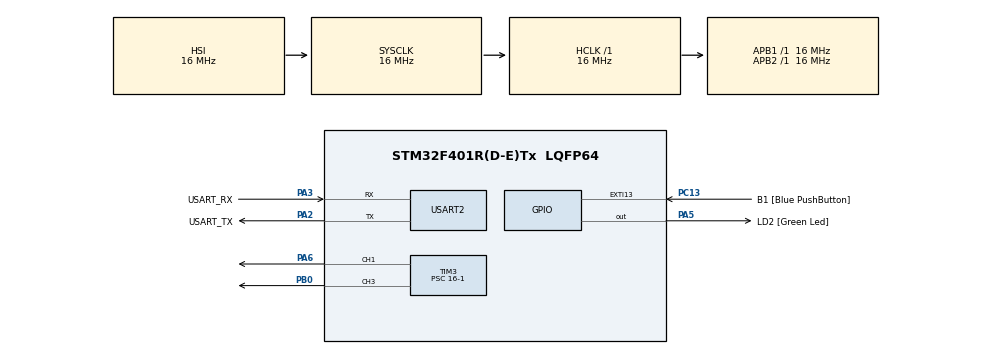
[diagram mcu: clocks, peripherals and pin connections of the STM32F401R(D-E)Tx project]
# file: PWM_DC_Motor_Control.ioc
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Mcu.Family=STM32F4
Mcu.Name=STM32F401R(D-E)Tx
Mcu.Package=LQFP64
NVIC.PriorityGroup=NVIC_PRIORITYGROUP_4
PA13.GPIO_Label=TMS
PA13.Mode=Trace_Asynchronous_SW
PA13.Signal=SYS_JTMS-SWDIO
PA14.GPIO_Label=TCK
PA14.Mode=Trace_Asynchronous_SW
PA14.Signal=SYS_JTCK-SWCLK
PA2.GPIO_Label=USART_TX
PA2.GPIO_Mode=GPIO_MODE_AF_PP
PA2.GPIO_PuPd=GPIO_NOPULL
PA2.GPIO_Speed=GPIO_SPEED_FREQ_LOW
PA2.Mode=Asynchronous
PA2.Signal=USART2_TX
PA3.GPIO_Label=USART_RX
PA3.GPIO_Mode=GPIO_MODE_AF_PP
PA3.GPIO_PuPd=GPIO_NOPULL
PA3.GPIO_Speed=GPIO_SPEED_FREQ_LOW
PA3.Mode=Asynchronous
PA3.Signal=USART2_RX
PA5.GPIO_Label=LD2 [Green Led]
PA5.GPIO_Mode=GPIO_MODE_OUTPUT_PP
PA5.GPIO_PuPd=GPIO_NOPULL
PA5.GPIO_Speed=GPIO_SPEED_FREQ_LOW
PA5.Signal=GPIO_Output
PA6.Signal=S_TIM3_CH1
PB0.Signal=S_TIM3_CH3
PB3.GPIO_Label=SWO
PB3.Mode=Trace_Asynchronous_SW
PB3.Signal=SYS_JTDO-SWO
PC13-ANTI_TAMP.GPIO_Label=B1 [Blue PushButton]
PC13-ANTI_TAMP.GPIO_ModeDefaultEXTI=GPIO_MODE_IT_FALLING
PC13-ANTI_TAMP.GPIO_PuPd=GPIO_NOPULL
PC13-ANTI_TAMP.Signal=GPXTI13
PC14-OSC32_IN.Mode=LSE-External-Oscillator
PC14-OSC32_IN.Signal=RCC_OSC32_IN
PC15-OSC32_OUT.Mode=LSE-External-Oscillator
PC15-OSC32_OUT.Signal=RCC_OSC32_OUT
PH0\ -\ OSC_IN.Mode=HSE-External-Clock-Source
PH0\ -\ OSC_IN.Signal=RCC_OSC_IN
PH1\ -\ OSC_OUT.Mode=HSE-External-Clock-Source
PH1\ -\ OSC_OUT.Signal=RCC_OSC_OUT
ProjectManager.HeapSize=0x200
ProjectManager.StackSize=0x400
ProjectManager.TargetToolchain=STM32CubeIDE
RCC.48MHZClocksFreq_Value=48000000
RCC.AHBFreq_Value=16000000
RCC.APB1Freq_Value=16000000
RCC.APB1TimFreq_Value=16000000
RCC.APB2Freq_Value=16000000
RCC.APB2TimFreq_Value=16000000
RCC.CortexFreq_Value=16000000
RCC.HCLKFreq_Value=16000000
RCC.HSE_VALUE=8000000
RCC.HSI_VALUE=16000000
RCC.PLLN=336
RCC.PLLP=RCC_PLLP_DIV4
RCC.PLLQ=7
RCC.SYSCLKFreq_VALUE=16000000
RCC.VCOOutputFreq_Value=336000000
SH.S_TIM3_CH1.0=TIM3_CH1,PWM Generation1 CH1
SH.S_TIM3_CH3.0=TIM3_CH3,PWM Generation3 CH3
TIM3.AutoReloadPreload=TIM_AUTORELOAD_PRELOAD_ENABLE
TIM3.Channel-PWM\ Generation1\ CH1=TIM_CHANNEL_1
TIM3.Channel-PWM\ Generation3\ CH3=TIM_CHANNEL_3
TIM3.Period=2000-1
TIM3.Prescaler=16-1
TIM3.Pulse-PWM\ Generation1\ CH1=1200-1
USART2.VirtualMode=VM_ASYNC
VP_TIM3_VS_ClockSourceINT.Mode=Internal
board=NUCLEO-F401RE

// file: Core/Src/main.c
/* USER CODE BEGIN Header */
/**
  ******************************************************************************
  * @file           : main.c
  * @brief          : Main program body
  ******************************************************************************
  * @attention
  *
  * Copyright (c) 2026 STMicroelectronics.
  * All rights reserved.
  *
  * This software is licensed under terms that can be found in the LICENSE file
  * in the root directory of this software component.
  * If no LICENSE file comes with this software, it is provided AS-IS.
  *
  ******************************************************************************
  */
/* USER CODE END Header */
#include "main.h"

TIM_HandleTypeDef htim3;

UART_HandleTypeDef huart2;

void SystemClock_Config(void);
static void MX_GPIO_Init(void);
static void MX_USART2_UART_Init(void);
static void MX_TIM3_Init(void);

int main(void)
{

  /* MCU Configuration--------------------------------------------------------*/

  /* Reset of all peripherals, Initializes the Flash interface and the Systick. */
  HAL_Init();

  /* Configure the system clock */
  SystemClock_Config();

  /* Initialize all configured peripherals */
  MX_GPIO_Init();
  MX_USART2_UART_Init();
  MX_TIM3_Init();
  /* USER CODE BEGIN 2 */
  HAL_TIM_Base_Init(&htim3);
  HAL_TIM_PWM_Start(&htim3, TIM_CHANNEL_1);
  HAL_TIM_PWM_Start(&htim3, TIM_CHANNEL_3);
  /* USER CODE END 2 */

  /* Infinite loop */
  while (1)
  {

      /* USER CODE BEGIN 3 */

      // Direction 1: CH1 produces PWM, CH3 stays at zero.
      TIM3->CCR3 = 0;

      // Gradually increase duty cycle from 60% to 100%.
      for (int pulse = 1200; pulse <= 2000; pulse += 200)
      {
          TIM3->CCR1 = pulse;
          HAL_Delay(5000);
      }

      // Gradually decrease duty cycle back to 60%.
      for (int pulse = 1800; pulse >= 1200; pulse -= 200)
      {
          TIM3->CCR1 = pulse;
          HAL_Delay(5000);
      }

      // Stop for 5 seconds before reversing.
      TIM3->CCR1 = 0;
      TIM3->CCR3 = 0;
      HAL_Delay(5000);

      // Direction 2: CH3 produces PWM, CH1 stays at zero.

      // Gradually increase duty cycle from 60% to 100%.
      for (int pulse = 1200; pulse <= 2000; pulse += 200)
      {
          TIM3->CCR3 = pulse;
          HAL_Delay(5000);
      }

      // Gradually decrease duty cycle back to 60%.
      for (int pulse = 1800; pulse >= 1200; pulse -= 200)
      {
          TIM3->CCR3 = pulse;
          HAL_Delay(5000);
      }

      // Stop for 5 seconds before repeating.
      TIM3->CCR1 = 0;
      TIM3->CCR3 = 0;
      HAL_Delay(5000);
  }
  /* USER CODE END 3 */
}

void SystemClock_Config(void)
{
  RCC_OscInitTypeDef RCC_OscInitStruct = {0};
  RCC_ClkInitTypeDef RCC_ClkInitStruct = {0};

  /** Configure the main internal regulator output voltage
  */
  __HAL_RCC_PWR_CLK_ENABLE();
  __HAL_PWR_VOLTAGESCALING_CONFIG(PWR_REGULATOR_VOLTAGE_SCALE2);

  /** Initializes the RCC Oscillators according to the specified parameters
  * in the RCC_OscInitTypeDef structure.
  */
  RCC_OscInitStruct.OscillatorType = RCC_OSCILLATORTYPE_HSI;
  RCC_OscInitStruct.HSIState = RCC_HSI_ON;
  RCC_OscInitStruct.HSICalibrationValue = RCC_HSICALIBRATION_DEFAULT;
  RCC_OscInitStruct.PLL.PLLState = RCC_PLL_NONE;
  if (HAL_RCC_OscConfig(&RCC_OscInitStruct) != HAL_OK)
  {
    Error_Handler();
  }

  /** Initializes the CPU, AHB and APB buses clocks
  */
  RCC_ClkInitStruct.ClockType = RCC_CLOCKTYPE_HCLK|RCC_CLOCKTYPE_SYSCLK
                              |RCC_CLOCKTYPE_PCLK1|RCC_CLOCKTYPE_PCLK2;
  RCC_ClkInitStruct.SYSCLKSource = RCC_SYSCLKSOURCE_HSI;
  RCC_ClkInitStruct.AHBCLKDivider = RCC_SYSCLK_DIV1;
  RCC_ClkInitStruct.APB1CLKDivider = RCC_HCLK_DIV1;
  RCC_ClkInitStruct.APB2CLKDivider = RCC_HCLK_DIV1;

  if (HAL_RCC_ClockConfig(&RCC_ClkInitStruct, FLASH_LATENCY_0) != HAL_OK)
  {
    Error_Handler();
  }
}

static void MX_TIM3_Init(void)
{

  TIM_ClockConfigTypeDef sClockSourceConfig = {0};
  TIM_MasterConfigTypeDef sMasterConfig = {0};
  TIM_OC_InitTypeDef sConfigOC = {0};

  htim3.Instance = TIM3;
  htim3.Init.Prescaler = 16-1;
  htim3.Init.CounterMode = TIM_COUNTERMODE_UP;
  htim3.Init.Period = 2000-1;
  htim3.Init.ClockDivision = TIM_CLOCKDIVISION_DIV1;
  htim3.Init.AutoReloadPreload = TIM_AUTORELOAD_PRELOAD_ENABLE;
  if (HAL_TIM_Base_Init(&htim3) != HAL_OK)
  {
    Error_Handler();
  }
  sClockSourceConfig.ClockSource = TIM_CLOCKSOURCE_INTERNAL;
  if (HAL_TIM_ConfigClockSource(&htim3, &sClockSourceConfig) != HAL_OK)
  {
    Error_Handler();
  }
  if (HAL_TIM_PWM_Init(&htim3) != HAL_OK)
  {
    Error_Handler();
  }
  sMasterConfig.MasterOutputTrigger = TIM_TRGO_RESET;
  sMasterConfig.MasterSlaveMode = TIM_MASTERSLAVEMODE_DISABLE;
  if (HAL_TIMEx_MasterConfigSynchronization(&htim3, &sMasterConfig) != HAL_OK)
  {
    Error_Handler();
  }
  sConfigOC.OCMode = TIM_OCMODE_PWM1;
  sConfigOC.Pulse = 1200-1;
  sConfigOC.OCPolarity = TIM_OCPOLARITY_HIGH;
  sConfigOC.OCFastMode = TIM_OCFAST_DISABLE;
  if (HAL_TIM_PWM_ConfigChannel(&htim3, &sConfigOC, TIM_CHANNEL_1) != HAL_OK)
  {
    Error_Handler();
  }
  sConfigOC.Pulse = 0;
  if (HAL_TIM_PWM_ConfigChannel(&htim3, &sConfigOC, TIM_CHANNEL_3) != HAL_OK)
  {
    Error_Handler();
  }
  HAL_TIM_MspPostInit(&htim3);

}

static void MX_USART2_UART_Init(void)
{

  huart2.Instance = USART2;
  huart2.Init.BaudRate = 115200;
  huart2.Init.WordLength = UART_WORDLENGTH_8B;
  huart2.Init.StopBits = UART_STOPBITS_1;
  huart2.Init.Parity = UART_PARITY_NONE;
  huart2.Init.Mode = UART_MODE_TX_RX;
  huart2.Init.HwFlowCtl = UART_HWCONTROL_NONE;
  huart2.Init.OverSampling = UART_OVERSAMPLING_16;
  if (HAL_UART_Init(&huart2) != HAL_OK)
  {
    Error_Handler();
  }

}

static void MX_GPIO_Init(void)
{
  GPIO_InitTypeDef GPIO_InitStruct = {0};

  /* GPIO Ports Clock Enable */
  __HAL_RCC_GPIOC_CLK_ENABLE();
  __HAL_RCC_GPIOH_CLK_ENABLE();
  __HAL_RCC_GPIOA_CLK_ENABLE();
  __HAL_RCC_GPIOB_CLK_ENABLE();

  /*Configure GPIO pin Output Level */
  HAL_GPIO_WritePin(LD2_GPIO_Port, LD2_Pin, GPIO_PIN_RESET);

  /*Configure GPIO pin : B1_Pin */
  GPIO_InitStruct.Pin = B1_Pin;
  GPIO_InitStruct.Mode = GPIO_MODE_IT_FALLING;
  GPIO_InitStruct.Pull = GPIO_NOPULL;
  HAL_GPIO_Init(B1_GPIO_Port, &GPIO_InitStruct);

  /*Configure GPIO pin : LD2_Pin */
  GPIO_InitStruct.Pin = LD2_Pin;
  GPIO_InitStruct.Mode = GPIO_MODE_OUTPUT_PP;
  GPIO_InitStruct.Pull = GPIO_NOPULL;
  GPIO_InitStruct.Speed = GPIO_SPEED_FREQ_LOW;
  HAL_GPIO_Init(LD2_GPIO_Port, &GPIO_InitStruct);

}

void Error_Handler(void)
{
  __disable_irq();
  while (1)
  {
  }
}
